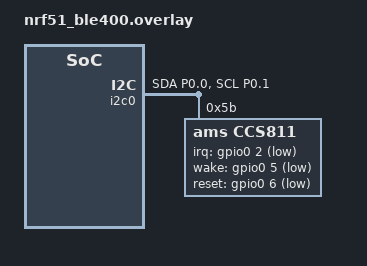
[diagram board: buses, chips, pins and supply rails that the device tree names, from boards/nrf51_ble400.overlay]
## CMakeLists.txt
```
#
# Copyright (c) 2018 Linaro Ltd.
#
# SPDX-License-Identifier: Apache-2.0
#

cmake_minimum_required(VERSION 3.20.0)
find_package(Zephyr REQUIRED HINTS $ENV{ZEPHYR_BASE})
project(ccs811)

FILE(GLOB app_sources src/*.c)
target_sources(app PRIVATE ${app_sources})
```

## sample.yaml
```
#
# Copyright (c) 2018 Linaro Ltd.
#
# SPDX-License-Identifier: Apache-2.0
#

sample:
  description: Demonstration of the CCS811 Digital Gas Sensor driver
  name: CCS811 sample
tests:
  sample.sensor.ccs811:
    harness: sensor
    tags: sensors
    platform_allow:
      - thingy52/nrf52832
      - sltb004a
    integration_platforms:
      - sltb004a
    depends_on: i2c
```

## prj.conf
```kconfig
#
# Copyright (c) 2018 Linaro Ltd.
#
# SPDX-License-Identifier: Apache-2.0
#

CONFIG_STDOUT_CONSOLE=y
CONFIG_I2C=y
CONFIG_SENSOR=y
```

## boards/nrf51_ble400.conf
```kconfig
#
# Copyright (c) 2018 Peter Bigot Consulting, LLC
#
# SPDX-License-Identifier: Apache-2.0
#

CONFIG_STDOUT_CONSOLE=y
CONFIG_SENSOR=y
#CONFIG_CCS811_DRIVE_MODE_2=y
#CONFIG_CCS811_TRIGGER_GLOBAL_THREAD=y
#CONFIG_CCS811_TRIGGER_OWN_THREAD=y
```

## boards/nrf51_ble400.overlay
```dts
/*
 * Copyright (c) 2018 Peter Bigot Consulting, LLC
 *
 * SPDX-License-Identifier: Apache-2.0
 */

&pinctrl {
	i2c0_default_alt: i2c0_default_alt {
		group1 {
			psels = <NRF_PSEL(TWIM_SDA, 0, 0)>,
				<NRF_PSEL(TWIM_SCL, 0, 1)>;
		};
	};

	i2c0_sleep_alt: i2c0_sleep_alt {
		group1 {
			psels = <NRF_PSEL(TWIM_SDA, 0, 0)>,
				<NRF_PSEL(TWIM_SCL, 0, 1)>;
			low-power-enable;
		};
	};
};

&i2c0 {
	status = "okay";
	pinctrl-0 = <&i2c0_default_alt>;
	pinctrl-1 = <&i2c0_sleep_alt>;
	pinctrl-names = "default", "sleep";

	/* Sparkfun Environment Combo uses second I2C address */
	ccs811: ccs811@5b {
		compatible = "ams,ccs811";
		reg = <0x5b>;
		irq-gpios = <&gpio0 2 GPIO_ACTIVE_LOW>;
		wake-gpios = <&gpio0 5 GPIO_ACTIVE_LOW>;
		reset-gpios = <&gpio0 6 GPIO_ACTIVE_LOW>;
	};
};
```

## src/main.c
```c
/*
 * Copyright (c) 2018 Peter Bigot Consulting, LLC
 * Copyright (c) 2018 Linaro Ltd.
 *
 * SPDX-License-Identifier: Apache-2.0
 */

#include <zephyr/kernel.h>
#include <zephyr/device.h>
#include <zephyr/drivers/sensor.h>
#include <zephyr/sys/printk.h>
#include <zephyr/drivers/sensor/ccs811.h>
#include <stdio.h>

static bool app_fw_2;

static const char *now_str(void)
{
	static char buf[16]; /* ...HH:MM:SS.MMM */
	uint32_t now = k_uptime_get_32();
	unsigned int ms = now % MSEC_PER_SEC;
	unsigned int s;
	unsigned int min;
	unsigned int h;

	now /= MSEC_PER_SEC;
	s = now % 60U;
	now /= 60U;
	min = now % 60U;
	now /= 60U;
	h = now;

	snprintf(buf, sizeof(buf), "%u:%02u:%02u.%03u",
		 h, min, s, ms);
	return buf;
}

static int do_fetch(const struct device *dev)
{
	struct sensor_value co2, tvoc, voltage, current;
	int rc = 0;
	int baseline = -1;

#ifdef CONFIG_APP_MONITOR_BASELINE
	rc = ccs811_baseline_fetch(dev);
	if (rc >= 0) {
		baseline = rc;
		rc = 0;
	}
#endif
	if (rc == 0) {
		rc = sensor_sample_fetch(dev);
	}
	if (rc == 0) {
		const struct ccs811_result_type *rp = ccs811_result(dev);

		sensor_channel_get(dev, SENSOR_CHAN_CO2, &co2);
		sensor_channel_get(dev, SENSOR_CHAN_VOC, &tvoc);
		sensor_channel_get(dev, SENSOR_CHAN_VOLTAGE, &voltage);
		sensor_channel_get(dev, SENSOR_CHAN_CURRENT, &current);
		printk("\n[%s]: CCS811: %u ppm eCO2; %u ppb eTVOC\n",
		       now_str(), co2.val1, tvoc.val1);
		printk("Voltage: %d.%06dV; Current: %d.%06dA\n", voltage.val1,
		       voltage.val2, current.val1, current.val2);
#ifdef CONFIG_APP_MONITOR_BASELINE
		printk("BASELINE %04x\n", baseline);
#endif
		if (app_fw_2 && !(rp->status & CCS811_STATUS_DATA_READY)) {
			printk("STALE DATA\n");
		}

		if (rp->status & CCS811_STATUS_ERROR) {
			printk("ERROR: %02x\n", rp->error);
		}
	}
	return rc;
}

#ifndef CONFIG_CCS811_TRIGGER_NONE

static void trigger_handler(const struct device *dev,
			    const struct sensor_trigger *trig)
{
	int rc = do_fetch(dev);

	if (rc == 0) {
		printk("Triggered fetch got %d\n", rc);
	} else if (-EAGAIN == rc) {
		printk("Triggered fetch got stale data\n");
	} else {
		printk("Triggered fetch failed: %d\n", rc);
	}
}

#endif /* !CONFIG_CCS811_TRIGGER_NONE */

static void do_main(const struct device *dev)
{
	while (true) {
		int rc = do_fetch(dev);

		if (rc == 0) {
			printk("Timed fetch got %d\n", rc);
		} else if (-EAGAIN == rc) {
			printk("Timed fetch got stale data\n");
		} else {
			printk("Timed fetch failed: %d\n", rc);
			break;
		}
		k_msleep(1000);
	}
}

int main(void)
{
	const struct device *const dev = DEVICE_DT_GET_ONE(ams_ccs811);
	struct ccs811_configver_type cfgver;
	int rc;

	if (!device_is_ready(dev)) {
		printk("Device %s is not ready\n", dev->name);
		return 0;
	}

	printk("device is %p, name is %s\n", dev, dev->name);

	rc = ccs811_configver_fetch(dev, &cfgver);
	if (rc == 0) {
		printk("HW %02x; FW Boot %04x App %04x ; mode %02x\n",
		       cfgver.hw_version, cfgver.fw_boot_version,
		       cfgver.fw_app_version, cfgver.mode);
		app_fw_2 = (cfgver.fw_app_version >> 8) > 0x11;
	}

#ifdef CONFIG_APP_USE_ENVDATA
	struct sensor_value temp = { CONFIG_APP_ENV_TEMPERATURE };
	struct sensor_value humidity = { CONFIG_APP_ENV_HUMIDITY };

	rc = ccs811_envdata_update(dev, &temp, &humidity);
	printk("ENV_DATA set for %d Cel, %d %%RH got %d\n",
	       temp.val1, humidity.val1, rc);
#endif

#ifdef CONFIG_CCS811_TRIGGER
	struct sensor_trigger trig = { 0 };

#ifdef CONFIG_APP_TRIGGER_ON_THRESHOLD
	printk("Triggering on threshold:\n");
	if (rc == 0) {
		struct sensor_value thr = {
			.val1 = CONFIG_APP_CO2_MEDIUM_PPM,
		};
		rc = sensor_attr_set(dev, SENSOR_CHAN_CO2,
				     SENSOR_ATTR_LOWER_THRESH,
				     &thr);
		printk("L/M threshold to %d got %d\n", thr.val1, rc);
	}
	if (rc == 0) {
		struct sensor_value thr = {
			.val1 = CONFIG_APP_CO2_HIGH_PPM,
		};
		rc = sensor_attr_set(dev, SENSOR_CHAN_CO2,
				     SENSOR_ATTR_UPPER_THRESH,
				     &thr);
		printk("M/H threshold to %d got %d\n", thr.val1, rc);
	}
	trig.type = SENSOR_TRIG_THRESHOLD;
	trig.chan = SENSOR_CHAN_CO2;
#elif defined(CONFIG_APP_TRIGGER_ON_DATAREADY)
	printk("Triggering on data ready\n");
	trig.type = SENSOR_TRIG_DATA_READY;
	trig.chan = SENSOR_CHAN_ALL;
#else
#error Unhandled trigger on
#endif
	if (rc == 0) {
		rc = sensor_trigger_set(dev, &trig, trigger_handler);
	}
	if (rc == 0) {
#ifdef CONFIG_APP_TRIGGER_ON_DATAREADY
		while (true) {
			k_sleep(K_FOREVER);
		}
#endif
	}
	printk("Trigger installation got: %d\n", rc);
#endif /* CONFIG_CCS811_TRIGGER */
	if (rc == 0) {
		do_main(dev);
	}
	return 0;
}
```
